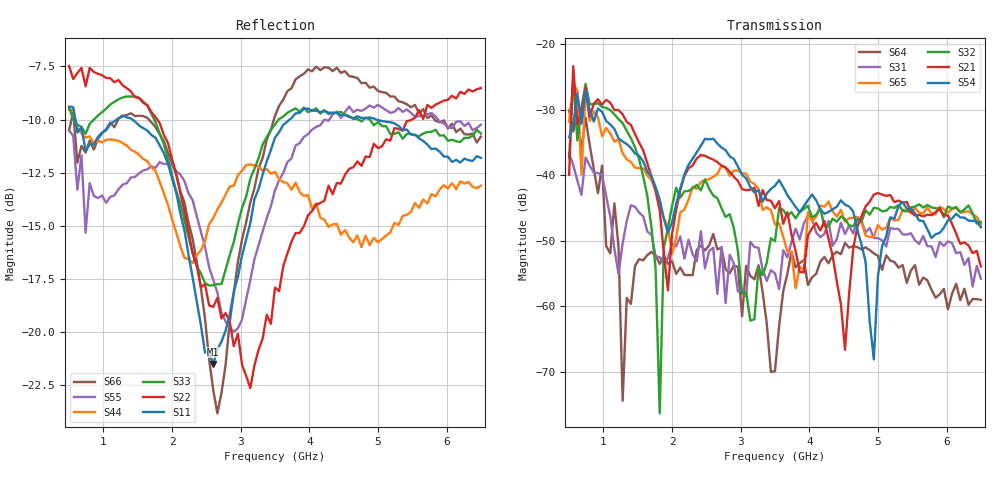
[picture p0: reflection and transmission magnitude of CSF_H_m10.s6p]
!Keysight Technologies,M9804A,MY58100912,A.14.10.03
!Date: Thursday, April 27, 2023 10:28:33
!Correction: S11(C  6-Port  )
!S12(C  6-Port  )
!S13(C  6-Port  )
!S14(C  6-Port  )
!S15(C  6-Port  )
!S16(C  6-Port  )
!S21(C  6-Port  )
!S22(C  6-Port  )
!S23(C  6-Port  )
!S24(C  6-Port  )
!S25(C  6-Port  )
!S26(C  6-Port  )
!S31(C  6-Port  )
!S32(C  6-Port  )
!S33(C  6-Port  )
!S34(C  6-Port  )
!S35(C  6-Port  )
!S36(C  6-Port  )
!S41(C  6-Port  )
!S42(C  6-Port  )
!S43(C  6-Port  )
!S44(C  6-Port  )
!S45(C  6-Port  )
!S46(C  6-Port  )
!S51(C  6-Port  )
!S52(C  6-Port  )
!S53(C  6-Port  )
!S54(C  6-Port  )
!S55(C  6-Port  )
!S56(C  6-Port  )
!S61(C  6-Port  )
!S62(C  6-Port  )
!S63(C  6-Port  )
!S64(C  6-Port  )
!S65(C  6-Port  )
!S66(C  6-Port  )
!S6P File: Measurement: :
# Hz S  RI  R 50
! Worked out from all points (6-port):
!   101 points, 500 MHz to 6.5 GHz, reference 50 ohm
!   strongest paths, dB at 500 MHz, 2 GHz, 3.5 GHz, 5 GHz, 6.5 GHz:
!     S54: -34.2, -47.2, -41.6, -55.4, -47.9
!     S21: -39.9, -48.9, -45.0, -42.7, -53.9
!     S32: -37.4, -44.7, -50.0, -45.1, -47.1
!     S65: -31.8, -52.0, -47.5, -47.6, -47.5
!     S31: -36.7, -50.3, -55.0, -49.6, -55.8
!     S64: -30.1, -53.1, -69.8, -52.3, -59.0
!   lowest |S11| = -21.5 dB at 2.6 GHz (marker M1), VSWR 1.18, Z = 42.5 + j2.18 ohm
!   |S11| at or under -10 dB: 589.3 MHz to 1.193 GHz (603.8 MHz wide, 67.8 % of centre); 1.423 GHz to 3.714 GHz (2.29 GHz wide, 89.2 % of centre); 4.978 GHz to end of sweep
